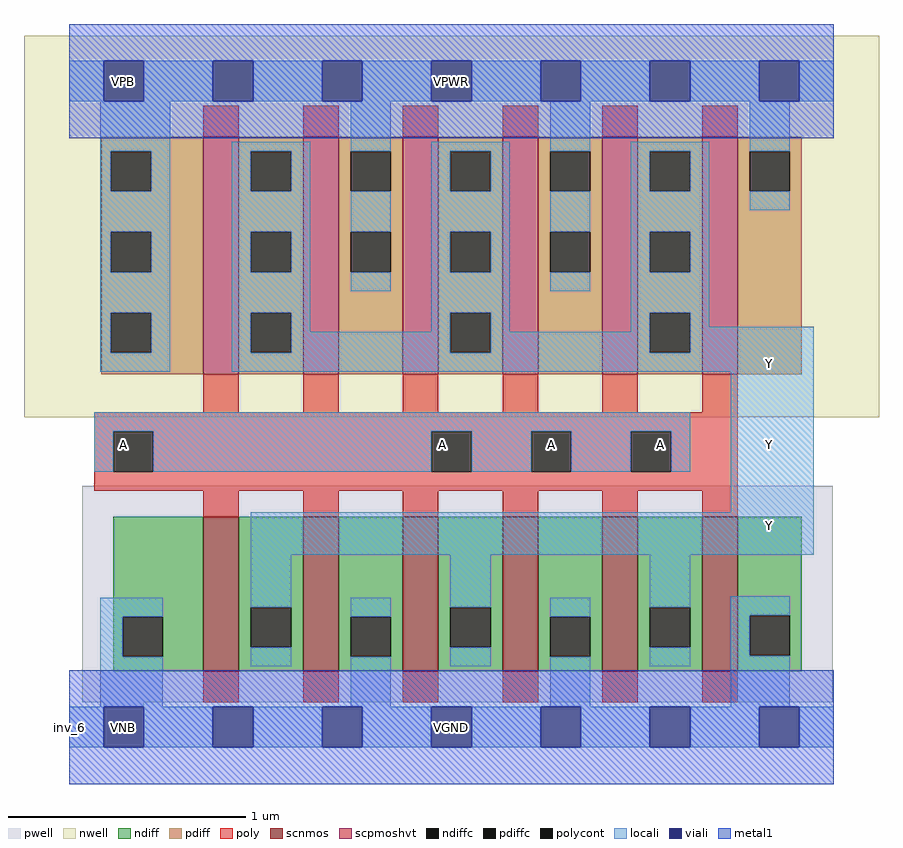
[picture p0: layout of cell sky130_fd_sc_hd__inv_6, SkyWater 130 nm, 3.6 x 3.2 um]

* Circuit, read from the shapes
.subckt sky130_fd_sc_hd__inv_6 A VGND VNB VPB VPWR Y
XM1 Y A VGND VNB sky130_fd_pr__nfet_01v8 w=0.65 l=0.15 m=6
XM2 Y A VPWR VPB sky130_fd_pr__pfet_01v8_hvt w=1 l=0.15 m=6
.ends

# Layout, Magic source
magic
tech sky130B
magscale 1 2
<< nwell >>
rect -38 261 682 582
<< pwell >>
rect 11 21 643 203
rect 29 -17 63 21
<< scnmos >>
rect 113 47 143 177
rect 197 47 227 177
rect 281 47 311 177
rect 365 47 395 177
rect 449 47 479 177
rect 533 47 563 177
<< scpmoshvt >>
rect 113 297 143 497
rect 197 297 227 497
rect 281 297 311 497
rect 365 297 395 497
rect 449 297 479 497
rect 533 297 563 497
<< ndiff >>
rect 37 93 113 177
rect 37 59 45 93
rect 79 59 113 93
rect 37 47 113 59
rect 143 101 197 177
rect 143 67 153 101
rect 187 67 197 101
rect 143 47 197 67
rect 227 93 281 177
rect 227 59 237 93
rect 271 59 281 93
rect 227 47 281 59
rect 311 101 365 177
rect 311 67 321 101
rect 355 67 365 101
rect 311 47 365 67
rect 395 93 449 177
rect 395 59 405 93
rect 439 59 449 93
rect 395 47 449 59
rect 479 101 533 177
rect 479 67 489 101
rect 523 67 533 101
rect 479 47 533 67
rect 563 94 617 177
rect 563 60 573 94
rect 607 60 617 94
rect 563 47 617 60
<< pdiff >>
rect 27 485 113 497
rect 27 451 35 485
rect 69 451 113 485
rect 27 417 113 451
rect 27 383 35 417
rect 69 383 113 417
rect 27 349 113 383
rect 27 315 35 349
rect 69 315 113 349
rect 27 297 113 315
rect 143 485 197 497
rect 143 451 153 485
rect 187 451 197 485
rect 143 417 197 451
rect 143 383 153 417
rect 187 383 197 417
rect 143 349 197 383
rect 143 315 153 349
rect 187 315 197 349
rect 143 297 197 315
rect 227 485 281 497
rect 227 451 237 485
rect 271 451 281 485
rect 227 417 281 451
rect 227 383 237 417
rect 271 383 281 417
rect 227 297 281 383
rect 311 485 365 497
rect 311 451 321 485
rect 355 451 365 485
rect 311 417 365 451
rect 311 383 321 417
rect 355 383 365 417
rect 311 349 365 383
rect 311 315 321 349
rect 355 315 365 349
rect 311 297 365 315
rect 395 485 449 497
rect 395 451 405 485
rect 439 451 449 485
rect 395 417 449 451
rect 395 383 405 417
rect 439 383 449 417
rect 395 297 449 383
rect 479 485 533 497
rect 479 451 489 485
rect 523 451 533 485
rect 479 417 533 451
rect 479 383 489 417
rect 523 383 533 417
rect 479 349 533 383
rect 479 315 489 349
rect 523 315 533 349
rect 479 297 533 315
rect 563 485 617 497
rect 563 451 573 485
rect 607 451 617 485
rect 563 297 617 451
<< ndiffc >>
rect 45 59 79 93
rect 153 67 187 101
rect 237 59 271 93
rect 321 67 355 101
rect 405 59 439 93
rect 489 67 523 101
rect 573 60 607 94
<< pdiffc >>
rect 35 451 69 485
rect 35 383 69 417
rect 35 315 69 349
rect 153 451 187 485
rect 153 383 187 417
rect 153 315 187 349
rect 237 451 271 485
rect 237 383 271 417
rect 321 451 355 485
rect 321 383 355 417
rect 321 315 355 349
rect 405 451 439 485
rect 405 383 439 417
rect 489 451 523 485
rect 489 383 523 417
rect 489 315 523 349
rect 573 451 607 485
<< poly >>
rect 113 497 143 523
rect 197 497 227 523
rect 281 497 311 523
rect 365 497 395 523
rect 449 497 479 523
rect 533 497 563 523
rect 113 265 143 297
rect 197 265 227 297
rect 281 265 311 297
rect 365 265 395 297
rect 449 265 479 297
rect 533 265 563 297
rect 21 249 563 265
rect 21 215 37 249
rect 71 215 305 249
rect 339 215 389 249
rect 423 215 473 249
rect 507 215 563 249
rect 21 199 563 215
rect 113 177 143 199
rect 197 177 227 199
rect 281 177 311 199
rect 365 177 395 199
rect 449 177 479 199
rect 533 177 563 199
rect 113 21 143 47
rect 197 21 227 47
rect 281 21 311 47
rect 365 21 395 47
rect 449 21 479 47
rect 533 21 563 47
<< polycont >>
rect 37 215 71 249
rect 305 215 339 249
rect 389 215 423 249
rect 473 215 507 249
<< locali >>
rect 0 527 29 561
rect 63 527 121 561
rect 155 527 213 561
rect 247 527 305 561
rect 339 527 397 561
rect 431 527 489 561
rect 523 527 581 561
rect 615 527 644 561
rect 26 485 85 527
rect 26 451 35 485
rect 69 451 85 485
rect 26 417 85 451
rect 26 383 35 417
rect 69 383 85 417
rect 26 349 85 383
rect 26 315 35 349
rect 69 315 85 349
rect 26 299 85 315
rect 137 485 203 493
rect 137 451 153 485
rect 187 451 203 485
rect 137 417 203 451
rect 137 383 153 417
rect 187 383 203 417
rect 137 349 203 383
rect 237 485 271 527
rect 237 417 271 451
rect 237 367 271 383
rect 305 485 371 493
rect 305 451 321 485
rect 355 451 371 485
rect 305 417 371 451
rect 305 383 321 417
rect 355 383 371 417
rect 137 315 153 349
rect 187 333 203 349
rect 305 349 371 383
rect 405 485 439 527
rect 405 417 439 451
rect 405 367 439 383
rect 473 485 539 493
rect 473 451 489 485
rect 523 451 539 485
rect 473 417 539 451
rect 573 485 607 527
rect 573 435 607 451
rect 473 383 489 417
rect 523 383 539 417
rect 305 333 321 349
rect 187 315 321 333
rect 355 333 371 349
rect 473 349 539 383
rect 473 333 489 349
rect 355 315 489 333
rect 523 337 539 349
rect 523 315 627 337
rect 137 299 627 315
rect 21 249 523 265
rect 21 215 37 249
rect 71 215 305 249
rect 339 215 389 249
rect 423 215 473 249
rect 507 215 523 249
rect 557 181 627 299
rect 153 145 627 181
rect 26 93 79 109
rect 26 59 45 93
rect 26 17 79 59
rect 153 101 187 145
rect 153 51 187 67
rect 237 93 271 109
rect 237 17 271 59
rect 321 101 355 145
rect 321 51 355 67
rect 405 93 439 109
rect 405 17 439 59
rect 489 101 523 145
rect 489 51 523 67
rect 557 94 607 110
rect 557 60 573 94
rect 557 17 607 60
rect 0 -17 29 17
rect 63 -17 121 17
rect 155 -17 213 17
rect 247 -17 305 17
rect 339 -17 397 17
rect 431 -17 489 17
rect 523 -17 581 17
rect 615 -17 644 17
<< viali >>
rect 29 527 63 561
rect 121 527 155 561
rect 213 527 247 561
rect 305 527 339 561
rect 397 527 431 561
rect 489 527 523 561
rect 581 527 615 561
rect 29 -17 63 17
rect 121 -17 155 17
rect 213 -17 247 17
rect 305 -17 339 17
rect 397 -17 431 17
rect 489 -17 523 17
rect 581 -17 615 17
<< metal1 >>
rect 0 561 644 592
rect 0 527 29 561
rect 63 527 121 561
rect 155 527 213 561
rect 247 527 305 561
rect 339 527 397 561
rect 431 527 489 561
rect 523 527 581 561
rect 615 527 644 561
rect 0 496 644 527
rect 0 17 644 48
rect 0 -17 29 17
rect 63 -17 121 17
rect 155 -17 213 17
rect 247 -17 305 17
rect 339 -17 397 17
rect 431 -17 489 17
rect 523 -17 581 17
rect 615 -17 644 17
rect 0 -48 644 -17
<< labels >>
flabel locali s 573 153 607 187 0 FreeSans 340 0 0 0 Y
port 6 nsew signal output
flabel locali s 573 221 607 255 0 FreeSans 340 0 0 0 Y
port 6 nsew signal output
flabel locali s 573 289 607 323 0 FreeSans 340 0 0 0 Y
port 6 nsew signal output
flabel locali s 29 221 63 255 0 FreeSans 340 0 0 0 A
port 1 nsew signal input
flabel locali s 297 221 331 255 0 FreeSans 340 0 0 0 A
port 1 nsew signal input
flabel locali s 389 221 423 255 0 FreeSans 340 0 0 0 A
port 1 nsew signal input
flabel locali s 481 221 515 255 0 FreeSans 340 0 0 0 A
port 1 nsew signal input
flabel nwell s 29 527 63 561 0 FreeSans 200 0 0 0 VPB
port 4 nsew power bidirectional
flabel pwell s 29 -17 63 17 0 FreeSans 200 0 0 0 VNB
port 3 nsew ground bidirectional
flabel metal1 s 29 527 63 561 0 FreeSans 200 0 0 0 VPWR
port 5 nsew power bidirectional abutment
flabel metal1 s 29 -17 63 17 0 FreeSans 200 0 0 0 VGND
port 2 nsew ground bidirectional abutment
rlabel comment s 0 0 0 0 4 inv_6
rlabel metal1 s 0 -48 644 48 1 VGND
port 2 nsew ground bidirectional abutment
rlabel metal1 s 0 496 644 592 1 VPWR
port 5 nsew power bidirectional abutment
<< properties >>
string FIXED_BBOX 0 0 644 544
string GDS_END 2229860
string GDS_FILE $PDKPATH/libs.ref/sky130_fd_sc_hd/gds/sky130_fd_sc_hd.gds
string GDS_START 2223910
string LEFclass CORE
string LEFsite unithd
string LEFsymmetry X Y R90
string path 0.000 0.000 16.100 0.000 
<< end >>
